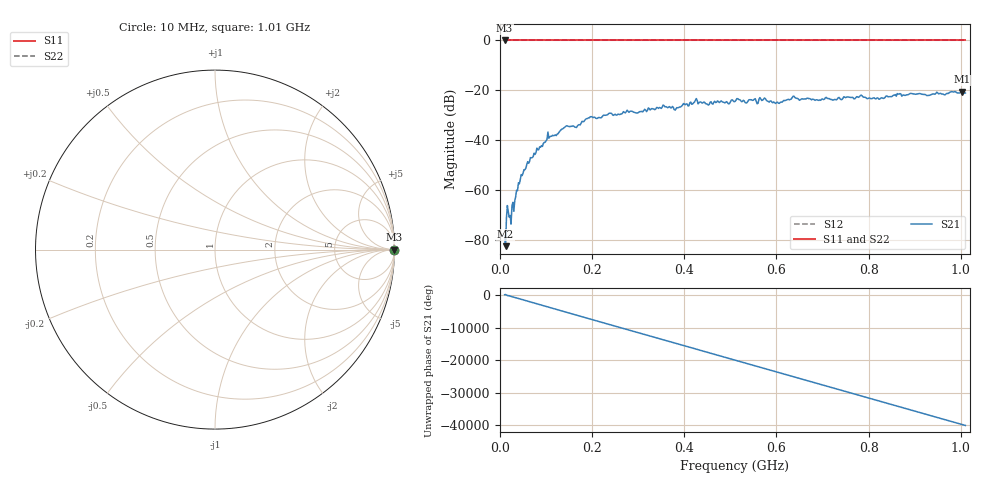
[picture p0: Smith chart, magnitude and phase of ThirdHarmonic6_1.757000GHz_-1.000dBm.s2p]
! 8/16/2025 9:12:28 PM
! C:\ANRITSUVNA\TEMP\TEMP.S2P
! CHANNEL.1
! TR.MEASUREMENT
! RAW.DATA
! RF.CORRECTION.OFF
! AVERAGING.OFF
! IF.BANDWIDTH: 5KHZ
! SWEEPTYPE:  FREQ.SWEEP(Linear)
! Reference Plane Port Info
! PORT:  PORT1  PORT2
! DISTANCE:  0  m  0  m
! TIME:  0  s  0  s
! PHASE.OFFSET:  0  deg.  0  deg.
! LOSS:  0  dB  0  dB
! REF.LOSS:  0  dB  0  dB
! REF.FREQ:  0  Hz  0  Hz
! Power Info
! POWER:  -20  dBm  -20  dBm
! EFF.POWER:  -20  dBm  -20  dBm
! SOURCE.ATTEN:  0  dB  0  dB
! TEST.ATTEN:  0  dB  0  dB
# GHZ S RI R 50.0
! FREQ.GHZ  S11RE  S11IM  S21RE  S21IM  S12RE  S12IM  S22RE  S22IM
!; PortSelection: Port_12
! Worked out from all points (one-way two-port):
!   501 points, 10 MHz to 1.01 GHz, reference 50 ohm
!   highest |S21| = -20.52 dB at 1.002 GHz (marker M1); lowest = -82.6 dB at 12 MHz (marker M2)
!   lowest |S11| = 0.0 dB at 10 MHz (marker M3)
!   |S11| at or under -10 dB: nowhere
!   |S22| runs from 0.0 to 0.0 dB; largest |S21 - S12| = 1.1
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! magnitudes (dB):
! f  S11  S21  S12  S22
! 10 MHz  0.0  -78.5  0.0  0.0
! 12 MHz  0.0  -82.6  0.0  0.0
! 18 MHz  0.0  -68.8  0.0  0.0
! 22 MHz  0.0  -70.2  0.0  0.0
! 28 MHz  0.0  -65.0  0.0  0.0
! 44 MHz  0.0  -55.9  0.0  0.0
! 70 MHz  0.0  -47.0  0.0  0.0
! 108 MHz  0.0  -38.7  0.0  0.0
! 178 MHz  0.0  -32.5  0.0  0.0
! 196 MHz  0.0  -30.6  0.0  0.0
! 344 MHz  0.0  -27.3  0.0  0.0
! 382 MHz  0.0  -27.5  0.0  0.0
! 424 MHz  0.0  -24.0  0.0  0.0
! 450 MHz  0.0  -25.5  0.0  0.0
! 510 MHz  0.0  -24.5  0.0  0.0
! 574 MHz  0.0  -23.1  0.0  0.0
! 602 MHz  0.0  -24.7  0.0  0.0
! 638 MHz  0.0  -22.4  0.0  0.0
! 678 MHz  0.0  -23.6  0.0  0.0
! 844 MHz  0.0  -22.6  0.0  0.0
! 1.002 GHz  0.0  -20.5  0.0  0.0
! 1.01 GHz  0.0  -21.1  0.0  0.0
